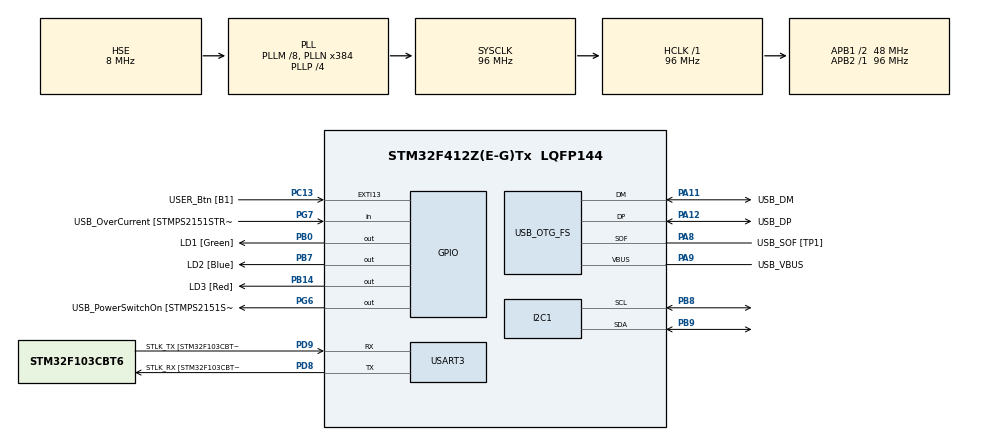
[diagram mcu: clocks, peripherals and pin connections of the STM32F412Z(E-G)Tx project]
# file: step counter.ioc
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Mcu.Family=STM32F4
Mcu.Name=STM32F412Z(E-G)Tx
Mcu.Package=LQFP144
NVIC.I2C1_ER_IRQn=true\:0\:0\:false\:false\:true\:true\:true\:true
NVIC.I2C1_EV_IRQn=true\:0\:0\:false\:false\:true\:true\:true\:true
NVIC.PriorityGroup=NVIC_PRIORITYGROUP_4
NVIC.USART3_IRQn=true\:0\:0\:false\:false\:true\:true\:true\:true
PA10.GPIO_Label=USB_ID
PA10.Signal=USB_OTG_FS_ID
PA11.GPIO_Label=USB_DM
PA11.Mode=Device_Only
PA11.Signal=USB_OTG_FS_DM
PA12.GPIO_Label=USB_DP
PA12.Mode=Device_Only
PA12.Signal=USB_OTG_FS_DP
PA13.GPIO_Label=TMS
PA13.Mode=Serial_Wire
PA13.Signal=SYS_JTMS-SWDIO
PA14.GPIO_Label=TCK
PA14.Mode=Serial_Wire
PA14.Signal=SYS_JTCK-SWCLK
PA8.GPIO_Label=USB_SOF [TP1]
PA8.Mode=Activate_SOF_FS
PA8.Signal=USB_OTG_FS_SOF
PA9.GPIO_Label=USB_VBUS
PA9.Mode=Activate_VBUS
PA9.Signal=USB_OTG_FS_VBUS
PB0.GPIO_Label=LD1 [Green]
PB0.Signal=GPIO_Output
PB14.GPIO_Label=LD3 [Red]
PB14.Signal=GPIO_Output
PB3.GPIO_Label=SWO
PB3.Signal=SYS_JTDO-SWO
PB7.GPIO_Label=LD2 [Blue]
PB7.Signal=GPIO_Output
PB8.Mode=I2C
PB8.Signal=I2C1_SCL
PB9.Mode=I2C
PB9.Signal=I2C1_SDA
PC13.GPIO_Label=USER_Btn [B1]
PC13.Signal=GPXTI13
PC14-OSC32_IN.Mode=LSE-External-Oscillator
PC14-OSC32_IN.Signal=RCC_OSC32_IN
PC15-OSC32_OUT.Mode=LSE-External-Oscillator
PC15-OSC32_OUT.Signal=RCC_OSC32_OUT
PD8.GPIO_Label=STLK_RX [STM32F103CBT6_PA3]
PD8.Mode=Asynchronous
PD8.Signal=USART3_TX
PD9.GPIO_Label=STLK_TX [STM32F103CBT6_PA2]
PD9.Mode=Asynchronous
PD9.Signal=USART3_RX
PG6.GPIO_Label=USB_PowerSwitchOn [STMPS2151STR_EN]
PG6.Signal=GPIO_Output
PG7.GPIO_Label=USB_OverCurrent [STMPS2151STR_FAULT]
PG7.Signal=GPIO_Input
PH0\ -\ OSC_IN.GPIO_Label=MCO
PH0\ -\ OSC_IN.Mode=HSE-External-Oscillator
PH0\ -\ OSC_IN.Signal=RCC_OSC_IN
PH1\ -\ OSC_OUT.Mode=HSE-External-Oscillator
PH1\ -\ OSC_OUT.Signal=RCC_OSC_OUT
ProjectManager.HeapSize=0x200
ProjectManager.StackSize=0x400
ProjectManager.TargetToolchain=STM32CubeIDE
RCC.48MHZClocksFreq_Value=24000000
RCC.AHBFreq_Value=96000000
RCC.APB1CLKDivider=RCC_HCLK_DIV2
RCC.APB1Freq_Value=48000000
RCC.APB1TimFreq_Value=96000000
RCC.APB2Freq_Value=96000000
RCC.APB2TimFreq_Value=96000000
RCC.CortexFreq_Value=96000000
RCC.HCLKFreq_Value=96000000
RCC.HSE_VALUE=8000000
RCC.HSI_VALUE=16000000
RCC.PLLM=8
RCC.PLLMUL=RCC_PLL_MUL9
RCC.PLLN=384
RCC.PLLP=RCC_PLLP_DIV4
RCC.PLLQ=8
RCC.PRESCALERUSB=RCC_USBCLKSOURCE_PLL_DIV1_5
RCC.SYSCLKFreq_VALUE=96000000
RCC.SYSCLKSource=RCC_SYSCLKSOURCE_PLLCLK
RCC.SYSCLKSourceVirtual=RCC_SYSCLKSOURCE_PLLCLK
RCC.USBFreq_Value=48000000
RCC.VCOOutputFreq_Value=384000000
USART3.VirtualMode=VM_ASYNC
USB_OTG_FS.VirtualMode=Device_Only
board=NUCLEO-F412ZG

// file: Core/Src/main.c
/* USER CODE BEGIN Header */
/**
  ******************************************************************************
  * @file           : main.c
  * @brief          : Main program body
  ******************************************************************************
  * @attention
  *
  * Copyright (c) 2025 STMicroelectronics.
  * All rights reserved.
  *
  * This software is licensed under terms that can be found in the LICENSE file
  * in the root directory of this software component.
  * If no LICENSE file comes with this software, it is provided AS-IS.
  *
  ******************************************************************************
  */
/* USER CODE END Header */
#include "main.h"
#include "stdio.h"
#include <string.h>

I2C_HandleTypeDef hi2c1;

UART_HandleTypeDef huart3;

PCD_HandleTypeDef hpcd_USB_OTG_FS;

/* USER CODE BEGIN PV */

#define adxl_address 0x53<<1

/* USER CODE END PV */

void SystemClock_Config(void);
static void MX_GPIO_Init(void);
static void MX_USART3_UART_Init(void);
static void MX_USB_OTG_FS_PCD_Init(void);
static void MX_I2C1_Init(void);

/* USER CODE BEGIN 0 */

uint8_t data_rec[6];

int16_t x,y,z;
char uart_buf[50];

void adxl_write (uint8_t reg, uint8_t value)
{
	uint8_t data[2];
	data[0] = reg;
	data [1] = value;

	HAL_I2C_Master_Transmit(&hi2c1, adxl_address,data , 2, 10);

}

void adxl_read (uint8_t reg, uint8_t numberofbytes)
{
	HAL_I2C_Mem_Read(&hi2c1, adxl_address, reg, 1, data_rec, numberofbytes, 100);

}

void adxl_init(void)
{
	adxl_read (0x00, 1);
	char msg[30];
	sprintf(msg, "DEVID: %d\r\n", data_rec[0]);
	HAL_UART_Transmit(&huart3, (uint8_t*)msg, sizeof(msg), 100);

	adxl_write(0x2D, 0);
	adxl_write(0x2C, 0x0A);
	adxl_write(0x2D, 0x08);
	adxl_write(0x31, 0x08);

}

float z_filtered = 0;

uint32_t last_step_time = 0;
float prev_z = 0;
int steps = 0;

void low_pass_filter(float new_z)
{
    float alpha = 0.2;   // 0–1 (lower = smoother)
    z_filtered = (alpha * new_z) + (1 - alpha) * z_filtered;
}

float baseline = 1.0;

void update_baseline(float z)
{
    float beta = 0.01; // very slow filter (1%)
    baseline = beta * z + (1 - beta) * baseline;
}

/* USER CODE END 0 */

int main(void)
{

  /* MCU Configuration--------------------------------------------------------*/

  /* Reset of all peripherals, Initializes the Flash interface and the Systick. */
  HAL_Init();

  /* Configure the system clock */
  SystemClock_Config();

  /* Initialize all configured peripherals */
  MX_GPIO_Init();
  MX_USART3_UART_Init();
  MX_USB_OTG_FS_PCD_Init();
  MX_I2C1_Init();
  /* USER CODE BEGIN 2 */

  adxl_init();

  /* USER CODE END 2 */

  /* Infinite loop */
  while (1)
  {
	 adxl_read (0x32,6);
	 x = (int16_t)(data_rec[1]<<8) | data_rec[0];
	 y = (int16_t)(data_rec[3]<<8) | data_rec[2];
	 z = (int16_t)(data_rec[5]<<8) | data_rec[4];

	 float az_g = z * 0.004;
	 low_pass_filter(az_g);
	 update_baseline(z_filtered);

	 float step_threshold  = baseline + 0.10;
	 float reset_threshold = baseline - 0.10;

	     uint32_t now = HAL_GetTick();

	     // Step detection logic
	     if (prev_z < step_threshold && z_filtered >= step_threshold)
	     {
	         if (now - last_step_time > 300)   // 300 ms debounce
	         {
	             steps++;
	             last_step_time = now;

	             sprintf(uart_buf, "STEP: %d\r\n", steps);
	             HAL_UART_Transmit(&huart3, (uint8_t*)uart_buf, strlen(uart_buf), 100);
	         }
	     }

	     prev_z = z_filtered;

	     // Debug print
//	     sprintf(uart_buf, "Z: %.3f  Base: %.3f  Filt: %.3f  Th: %.3f\r\n",
//	             az_g, baseline, z_filtered, step_threshold);
//	     HAL_UART_Transmit(&huart3, (uint8_t*)uart_buf, strlen(uart_buf), 100);

	     HAL_Delay(50);
	 }

  }

void SystemClock_Config(void)
{
  RCC_OscInitTypeDef RCC_OscInitStruct = {0};
  RCC_ClkInitTypeDef RCC_ClkInitStruct = {0};

  /** Configure the main internal regulator output voltage
  */
  __HAL_RCC_PWR_CLK_ENABLE();
  __HAL_PWR_VOLTAGESCALING_CONFIG(PWR_REGULATOR_VOLTAGE_SCALE1);

  /** Initializes the RCC Oscillators according to the specified parameters
  * in the RCC_OscInitTypeDef structure.
  */
  RCC_OscInitStruct.OscillatorType = RCC_OSCILLATORTYPE_HSE;
  RCC_OscInitStruct.HSEState = RCC_HSE_ON;
  RCC_OscInitStruct.PLL.PLLState = RCC_PLL_ON;
  RCC_OscInitStruct.PLL.PLLSource = RCC_PLLSOURCE_HSE;
  RCC_OscInitStruct.PLL.PLLM = 8;
  RCC_OscInitStruct.PLL.PLLN = 384;
  RCC_OscInitStruct.PLL.PLLP = RCC_PLLP_DIV4;
  RCC_OscInitStruct.PLL.PLLQ = 8;
  RCC_OscInitStruct.PLL.PLLR = 2;
  if (HAL_RCC_OscConfig(&RCC_OscInitStruct) != HAL_OK)
  {
    Error_Handler();
  }

  /** Initializes the CPU, AHB and APB buses clocks
  */
  RCC_ClkInitStruct.ClockType = RCC_CLOCKTYPE_HCLK|RCC_CLOCKTYPE_SYSCLK
                              |RCC_CLOCKTYPE_PCLK1|RCC_CLOCKTYPE_PCLK2;
  RCC_ClkInitStruct.SYSCLKSource = RCC_SYSCLKSOURCE_PLLCLK;
  RCC_ClkInitStruct.AHBCLKDivider = RCC_SYSCLK_DIV1;
  RCC_ClkInitStruct.APB1CLKDivider = RCC_HCLK_DIV2;
  RCC_ClkInitStruct.APB2CLKDivider = RCC_HCLK_DIV1;

  if (HAL_RCC_ClockConfig(&RCC_ClkInitStruct, FLASH_LATENCY_3) != HAL_OK)
  {
    Error_Handler();
  }
}

static void MX_I2C1_Init(void)
{

  hi2c1.Instance = I2C1;
  hi2c1.Init.ClockSpeed = 100000;
  hi2c1.Init.DutyCycle = I2C_DUTYCYCLE_2;
  hi2c1.Init.OwnAddress1 = 0;
  hi2c1.Init.AddressingMode = I2C_ADDRESSINGMODE_7BIT;
  hi2c1.Init.DualAddressMode = I2C_DUALADDRESS_DISABLE;
  hi2c1.Init.OwnAddress2 = 0;
  hi2c1.Init.GeneralCallMode = I2C_GENERALCALL_DISABLE;
  hi2c1.Init.NoStretchMode = I2C_NOSTRETCH_DISABLE;
  if (HAL_I2C_Init(&hi2c1) != HAL_OK)
  {
    Error_Handler();
  }

}

static void MX_USART3_UART_Init(void)
{

  huart3.Instance = USART3;
  huart3.Init.BaudRate = 115200;
  huart3.Init.WordLength = UART_WORDLENGTH_8B;
  huart3.Init.StopBits = UART_STOPBITS_1;
  huart3.Init.Parity = UART_PARITY_NONE;
  huart3.Init.Mode = UART_MODE_TX_RX;
  huart3.Init.HwFlowCtl = UART_HWCONTROL_NONE;
  huart3.Init.OverSampling = UART_OVERSAMPLING_16;
  if (HAL_UART_Init(&huart3) != HAL_OK)
  {
    Error_Handler();
  }

}

static void MX_USB_OTG_FS_PCD_Init(void)
{

  hpcd_USB_OTG_FS.Instance = USB_OTG_FS;
  hpcd_USB_OTG_FS.Init.dev_endpoints = 6;
  hpcd_USB_OTG_FS.Init.speed = PCD_SPEED_FULL;
  hpcd_USB_OTG_FS.Init.dma_enable = DISABLE;
  hpcd_USB_OTG_FS.Init.phy_itface = PCD_PHY_EMBEDDED;
  hpcd_USB_OTG_FS.Init.Sof_enable = ENABLE;
  hpcd_USB_OTG_FS.Init.low_power_enable = DISABLE;
  hpcd_USB_OTG_FS.Init.lpm_enable = DISABLE;
  hpcd_USB_OTG_FS.Init.battery_charging_enable = ENABLE;
  hpcd_USB_OTG_FS.Init.vbus_sensing_enable = ENABLE;
  hpcd_USB_OTG_FS.Init.use_dedicated_ep1 = DISABLE;
  if (HAL_PCD_Init(&hpcd_USB_OTG_FS) != HAL_OK)
  {
    Error_Handler();
  }

}

static void MX_GPIO_Init(void)
{
  GPIO_InitTypeDef GPIO_InitStruct = {0};

  /* GPIO Ports Clock Enable */
  __HAL_RCC_GPIOC_CLK_ENABLE();
  __HAL_RCC_GPIOH_CLK_ENABLE();
  __HAL_RCC_GPIOB_CLK_ENABLE();
  __HAL_RCC_GPIOD_CLK_ENABLE();
  __HAL_RCC_GPIOG_CLK_ENABLE();
  __HAL_RCC_GPIOA_CLK_ENABLE();

  /*Configure GPIO pin Output Level */
  HAL_GPIO_WritePin(GPIOB, LD1_Pin|LD3_Pin|LD2_Pin, GPIO_PIN_RESET);

  /*Configure GPIO pin Output Level */
  HAL_GPIO_WritePin(USB_PowerSwitchOn_GPIO_Port, USB_PowerSwitchOn_Pin, GPIO_PIN_RESET);

  /*Configure GPIO pin : USER_Btn_Pin */
  GPIO_InitStruct.Pin = USER_Btn_Pin;
  GPIO_InitStruct.Mode = GPIO_MODE_IT_RISING;
  GPIO_InitStruct.Pull = GPIO_NOPULL;
  HAL_GPIO_Init(USER_Btn_GPIO_Port, &GPIO_InitStruct);

  /*Configure GPIO pins : LD1_Pin LD3_Pin LD2_Pin */
  GPIO_InitStruct.Pin = LD1_Pin|LD3_Pin|LD2_Pin;
  GPIO_InitStruct.Mode = GPIO_MODE_OUTPUT_PP;
  GPIO_InitStruct.Pull = GPIO_NOPULL;
  GPIO_InitStruct.Speed = GPIO_SPEED_FREQ_LOW;
  HAL_GPIO_Init(GPIOB, &GPIO_InitStruct);

  /*Configure GPIO pin : USB_PowerSwitchOn_Pin */
  GPIO_InitStruct.Pin = USB_PowerSwitchOn_Pin;
  GPIO_InitStruct.Mode = GPIO_MODE_OUTPUT_PP;
  GPIO_InitStruct.Pull = GPIO_NOPULL;
  GPIO_InitStruct.Speed = GPIO_SPEED_FREQ_LOW;
  HAL_GPIO_Init(USB_PowerSwitchOn_GPIO_Port, &GPIO_InitStruct);

  /*Configure GPIO pin : USB_OverCurrent_Pin */
  GPIO_InitStruct.Pin = USB_OverCurrent_Pin;
  GPIO_InitStruct.Mode = GPIO_MODE_INPUT;
  GPIO_InitStruct.Pull = GPIO_NOPULL;
  HAL_GPIO_Init(USB_OverCurrent_GPIO_Port, &GPIO_InitStruct);

}

void Error_Handler(void)
{
  __disable_irq();
  while (1)
  {
  }
}
